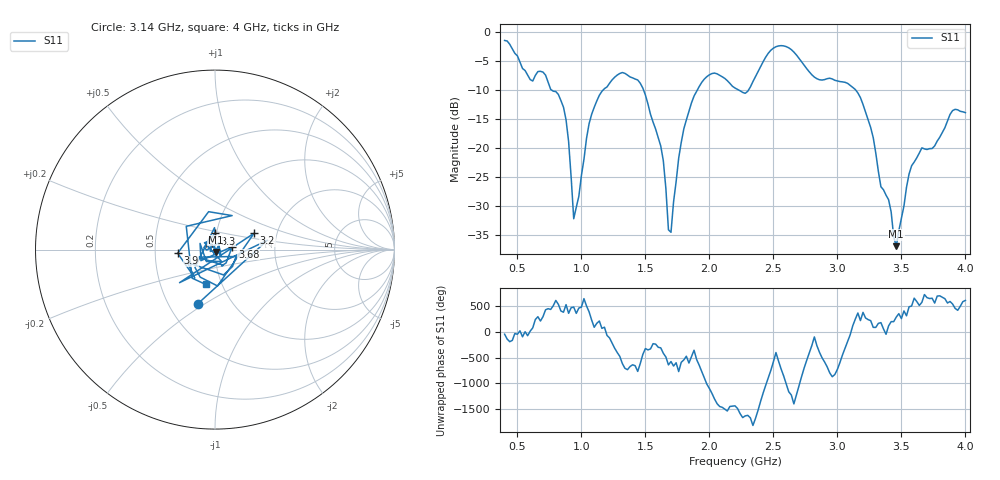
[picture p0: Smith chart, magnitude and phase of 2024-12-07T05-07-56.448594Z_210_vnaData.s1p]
!Created with skrf (http://scikit-rf.org).
# Hz S RI R 50.0
!freq ReS11 ImS11
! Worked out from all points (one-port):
!   181 points, 400 MHz to 4 GHz, reference 50 ohm
!   lowest |S11| = -37.0 dB at 3.46 GHz (marker M1), VSWR 1.03, Z = 50.5 - j1.34 ohm
!   |S11| at or under -10 dB: 763.7 MHz to 1.172 GHz (408.5 MHz wide, 42.2 % of centre); 1.485 GHz to 1.907 GHz (422.4 MHz wide, 24.9 % of centre); 3.141 GHz to end of sweep (the widest 3 of 4)
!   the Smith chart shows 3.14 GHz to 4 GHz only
!   S11 on the Smith chart (normalised r, x): 3.14 GHz: 0.70, -0.47; 3.2 GHz: 1.52, +0.29; 3.3 GHz: 0.98, +0.18; 3.68 GHz: 1.21, +0.04; 3.9 GHz: 0.66, -0.03; 4 GHz: 0.84, -0.34
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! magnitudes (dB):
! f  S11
! 400 MHz  -1.5
! 700 MHz  -7.0
! 860 MHz  -13.0
! 900 MHz  -18.9
! 940 MHz  -32.2
! 1.08 GHz  -14.2
! 1.3 GHz  -7.2
! 1.5 GHz  -10.9
! 1.64 GHz  -22.2
! 1.68 GHz  -34.1
! 1.7 GHz  -34.6
! 1.76 GHz  -21.8
! 1.86 GHz  -12.3
! 1.96 GHz  -8.2
! 2.2 GHz  -9.7
! 2.3 GHz  -10.3
! 2.5 GHz  -2.8
! 2.66 GHz  -3.5
! 2.84 GHz  -8.1
! 3.1 GHz  -9.2
! 3.14 GHz  -10.0
! 3.2 GHz  -12.5
! 3.3 GHz  -20.9
! 3.46 GHz  -37.0
! 3.56 GHz  -24.5
! 3.68 GHz  -20.2
! 3.9 GHz  -13.6
! 4 GHz  -13.9
